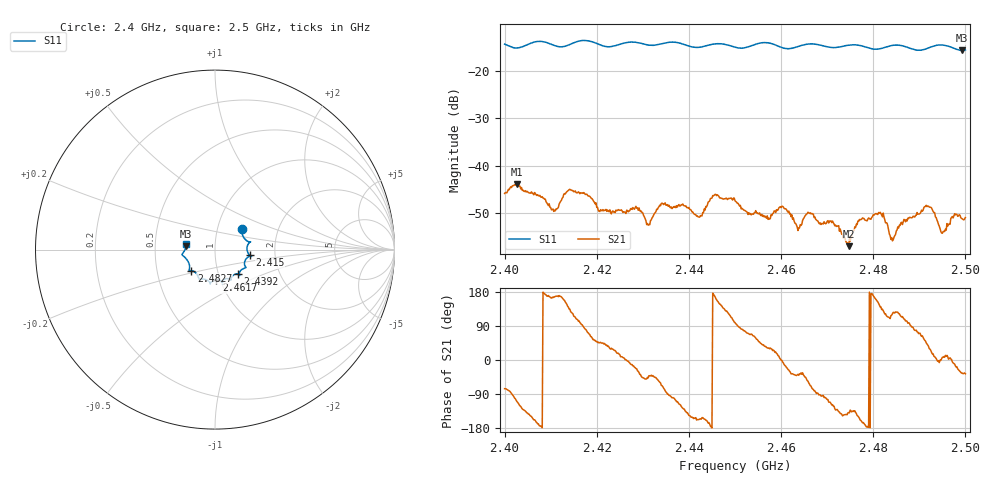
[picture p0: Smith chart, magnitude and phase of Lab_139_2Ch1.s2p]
# Hz S RI R 50
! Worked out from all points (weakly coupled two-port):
!   601 points, 2.4 GHz to 2.5 GHz, reference 50 ohm
!   highest |S21| = -43.91 dB at 2.4027 GHz (marker M1); lowest = -56.9 dB at 2.4747 GHz (marker M2)
!   lowest |S11| = -15.7 dB at 2.4993 GHz (marker M3), VSWR 1.39, Z = 36 + j1.45 ohm
!   |S11| at or under -10 dB: start of sweep to end of sweep
!   S12 and S22 are empty: the file has one direction only
!   S11 on the Smith chart (normalised r, x): 2.4 GHz: 1.31, +0.31; 2.415 GHz: 1.48, -0.10; 2.4392 GHz: 1.24, -0.35; 2.4617 GHz: 0.96, -0.34; 2.4827 GHz: 0.75, -0.18; 2.5 GHz: 0.72, +0.05
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2.4e9  0.1515 0.115  0.00126 -0.00497  0 0  0 0
2.402667e9  0.1572 0.0722  -0.00214 -0.006  0 0  0 0
2.410667e9  0.1828 0.0268  -0.00323 0.00077  0 0  0 0
2.415e9  0.1934 -0.0317  -0.00232 0.00482  0 0  0 0
2.416667e9  0.2034 -0.0384  -0.000334 0.00517  0 0  0 0
2.431167e9  0.1484 -0.1114  0.00162 -0.00174  0 0  0 0
2.433333e9  0.1365 -0.1299  0.00214 -0.00293  0 0  0 0
2.439167e9  0.1282 -0.1358  -0.00264 -0.00271  0 0  0 0
2.442333e9  0.0983 -0.1463  -0.00263 -0.00118  0 0  0 0
2.445667e9  0.0885 -0.1694  -0.00489 0.00111  0 0  0 0
2.45e9  0.0712 -0.1615  -0.000665 0.00425  0 0  0 0
2.461667e9  0.00795 -0.1699  0.00299 -0.00149  0 0  0 0
2.463833e9  -0.019 -0.1794  0.0017 -0.00144  0 0  0 0
2.466667e9  -0.027 -0.1892  0.000887 -0.00303  0 0  0 0
2.474667e9  -0.0838 -0.1654  -0.00107 -0.000947  0 0  0 0
2.477167e9  -0.0909 -0.1598  -0.00253 -0.000995  0 0  0 0
2.482667e9  -0.1317 -0.1174  -0.00133 0.00214  0 0  0 0
2.483333e9  -0.1375 -0.117  -0.00083 0.00195  0 0  0 0
2.4915e9  -0.1627 -0.0483  0.00271 0.00273  0 0  0 0
2.495e9  -0.1843 -0.0273  0.00194 0.000244  0 0  0 0
2.499333e9  -0.1623 0.0195  0.00228 -0.00157  0 0  0 0
2.5e9  -0.162 0.0314  0.0023 -0.0017  0 0  0 0
